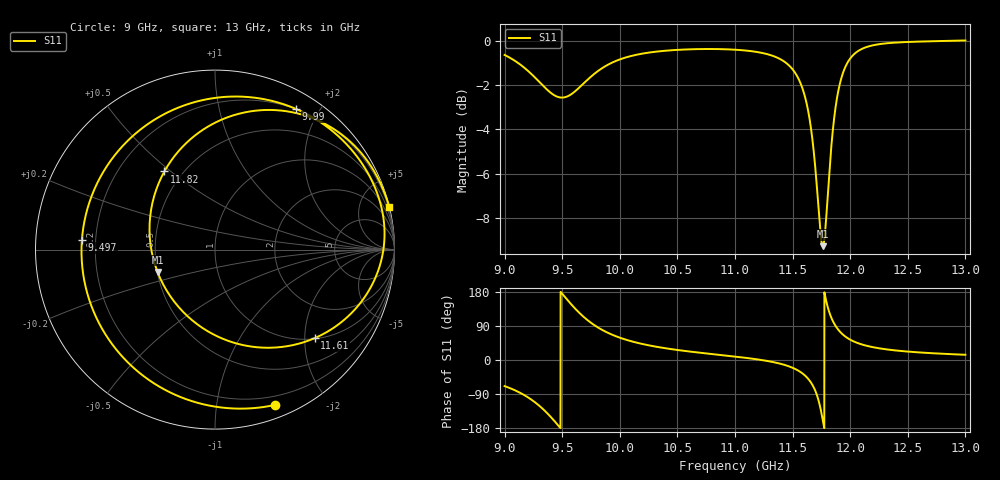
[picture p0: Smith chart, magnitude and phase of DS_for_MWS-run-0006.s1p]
! TOUCHSTONE file generated by CST DESIGN STUDIO
! Date and time: Tue Feb  4 15:38:50 2025
! Project name: C:\Work\MatlabApps\UnitCellOptimizationMatlab\CST\unitcell.cst
! Tree item: Tasks\Sweep1\SPara1\S-Parameters
! Header version: 2024
! Port assignment regex: !\s*Touchstone port\s*([0-9]+)\s*=\s*(CST MWS port|CST DES external port|CST DES block port)\s*(.+)\s* \(\"(.*)\"\)(\s*mode\s*([0-9]+))?.*
! Touchstone port assignment:
! Touchstone port 1 = CST DES external port 1 ("")
# GHz S MA R 50
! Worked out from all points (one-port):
!   4001 points, 9 GHz to 13 GHz, reference 50 ohm
!   lowest |S11| = -9.3 dB at 11.76 GHz (marker M1), VSWR 2.05, Z = 25.1 - j7.11 ohm
!   |S11| at or under -10 dB: nowhere
!   S11 on the Smith chart (normalised r, x): 9 GHz: 0.12, -1.45; 9.497 GHz: 0.15, +0.04; 9.99 GHz: 0.20, +1.72; 11.61 GHz: 1.02, -2.23; 11.82 GHz: 0.40, +0.47; 13 GHz: -0.01, +8.28
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9  0.9278 -68.9
9.158  0.8737 -90.4
9.274  0.8202 -114.0
9.403  0.7613 -151.0
9.497  0.7435 175.9
9.5  0.7435 174.8
9.613  0.7686 135.4
9.713  0.8126 106.9
9.828  0.8599 82.7
9.99  0.9045 60.0
10  0.9066 58.9
10.213  0.9359 41.1
10.5  0.9526 26.4
11  0.9534 9.0
11.321  0.9248 -4.9
11.5  0.8609 -20.6
11.61  0.7425 -41.7
11.696  0.52 -80.5
11.728  0.4084 -109.8
11.762  0.3436 -158.7
11.791  0.3958 156.7
11.822  0.5187 122.9
11.856  0.652 98.9
11.892  0.7585 81.7
12  0.9109 53.6
12.178  0.9729 35.0
12.5  0.9925 22.2
13  1 13.8
